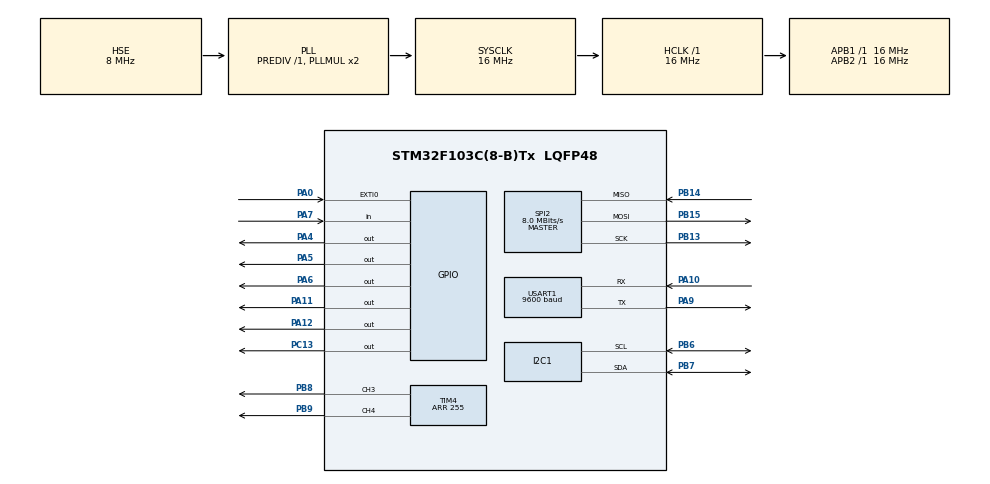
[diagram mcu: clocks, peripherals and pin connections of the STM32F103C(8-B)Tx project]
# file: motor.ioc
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Mcu.Family=STM32F1
Mcu.Name=STM32F103C(8-B)Tx
Mcu.Package=LQFP48
NVIC.EXTI0_IRQn=true\:1\:0\:true\:false\:true\:true\:true
NVIC.PriorityGroup=NVIC_PRIORITYGROUP_4
NVIC.SPI2_IRQn=true\:2\:0\:true\:false\:true\:true\:true
NVIC.TIM4_IRQn=true\:2\:0\:true\:false\:true\:true\:true
NVIC.USART1_IRQn=true\:2\:0\:true\:false\:true\:true\:true
PA0-WKUP.Signal=GPXTI0
PA10.Mode=Asynchronous
PA10.Signal=USART1_RX
PA11.Signal=GPIO_Output
PA12.Signal=GPIO_Output
PA13.Mode=Trace_Asynchronous_SW
PA13.Signal=SYS_JTMS-SWDIO
PA14.Mode=Trace_Asynchronous_SW
PA14.Signal=SYS_JTCK-SWCLK
PA4.Signal=GPIO_Output
PA5.Signal=GPIO_Output
PA6.Signal=GPIO_Output
PA7.Signal=GPIO_Input
PA9.Mode=Asynchronous
PA9.Signal=USART1_TX
PB13.Mode=Full_Duplex_Master
PB13.Signal=SPI2_SCK
PB14.Mode=Full_Duplex_Master
PB14.Signal=SPI2_MISO
PB15.Mode=Full_Duplex_Master
PB15.Signal=SPI2_MOSI
PB3.Mode=Trace_Asynchronous_SW
PB3.Signal=SYS_JTDO-TRACESWO
PB6.Mode=I2C
PB6.Signal=I2C1_SCL
PB7.Mode=I2C
PB7.Signal=I2C1_SDA
PB8.Signal=S_TIM4_CH3
PB9.GPIO_Speed=GPIO_SPEED_FREQ_HIGH
PB9.Signal=S_TIM4_CH4
PC13-TAMPER-RTC.Signal=GPIO_Output
PD0-OSC_IN.Mode=HSE-External-Oscillator
PD0-OSC_IN.Signal=RCC_OSC_IN
PD1-OSC_OUT.Mode=HSE-External-Oscillator
PD1-OSC_OUT.Signal=RCC_OSC_OUT
ProjectManager.HeapSize=0x200
ProjectManager.StackSize=0x400
ProjectManager.TargetToolchain=MDK-ARM V5
RCC.AHBFreq_Value=16000000
RCC.APB1Freq_Value=16000000
RCC.APB1TimFreq_Value=16000000
RCC.APB2Freq_Value=16000000
RCC.APB2TimFreq_Value=16000000
RCC.HCLKFreq_Value=16000000
RCC.PLLSourceVirtual=RCC_PLLSOURCE_HSE
RCC.SYSCLKFreq_VALUE=16000000
RCC.SYSCLKSource=RCC_SYSCLKSOURCE_PLLCLK
RCC.USBFreq_Value=16000000
SH.S_TIM4_CH3.0=TIM4_CH3,PWM Generation3 CH3
SH.S_TIM4_CH4.0=TIM4_CH4,PWM Generation4 CH4
SPI2.CalculateBaudRate=8.0 MBits/s
SPI2.Direction=SPI_DIRECTION_2LINES
SPI2.Mode=SPI_MODE_MASTER
SPI2.VirtualType=VM_MASTER
TIM4.Channel-PWM\ Generation3\ CH3=TIM_CHANNEL_3
TIM4.Channel-PWM\ Generation4\ CH4=TIM_CHANNEL_4
TIM4.Period=255
USART1.BaudRate=9600
USART1.VirtualMode=VM_ASYNC
VP_TIM4_VS_ClockSourceINT.Mode=Internal
board=custom

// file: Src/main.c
/* USER CODE BEGIN Header */
/**
  ******************************************************************************
  * @file           : main.c
  * @brief          : Main program body
  ******************************************************************************
  * @attention
  *
  * <h2><center>&copy; Copyright (c) 2019 STMicroelectronics.
  * All rights reserved.</center></h2>
  *
  * This software component is licensed by ST under BSD 3-Clause license,
  * the "License"; You may not use this file except in compliance with the
  * License. You may obtain a copy of the License at:
  *                        opensource.org/licenses/BSD-3-Clause
  *
  ******************************************************************************
  */
/* USER CODE END Header */

#include "main.h"

/* USER CODE BEGIN Includes */
#include "MotorLib.h"
#include "nrf24.h"
#include "nrf24_hal.h"
#include "fonts.h"
#include "ssd1306.h"

#include "ranging_vl53l0x.h"
#include "vl53l0x_api.h"

/* USER CODE END Includes */

/* USER CODE BEGIN PTD */
#ifdef __GNUC__
/* With GCC/RAISONANCE, small printf (option LD Linker->Libraries->Small printf
   set to 'Yes') calls __io_putchar() */
#define PUTCHAR_PROTOTYPE int __io_putchar(int ch)
#else
#define PUTCHAR_PROTOTYPE int fputc(int ch, FILE *f)
#endif /* __GNUC__ */
#include <stdbool.h>

/* USER CODE END PTD */

I2C_HandleTypeDef hi2c1;

SPI_HandleTypeDef hspi2;

TIM_HandleTypeDef htim4;

UART_HandleTypeDef huart1;

void SystemClock_Config(void);
static void MX_GPIO_Init(void);
static void MX_USART1_UART_Init(void);
static void MX_TIM4_Init(void);
static void MX_SPI2_Init(void);
static void MX_I2C1_Init(void);
/* USER CODE BEGIN PFP */

    static const uint8_t nRF24_ADDR0[] = { 0x01,0x01,0xE7, 0x1C, 0xE1};
		static const uint8_t nRF24_ADDR1[] = {  0x01,0x01,0xE7, 0x1C, 0xE2 };
		static const uint8_t nRF24_ADDR2[] = {  0x01,0x01,0xE7, 0x1C, 0xE3 };
		static const uint8_t nRF24_ADDR3[] = {  0x01,0x01,0xE7, 0x1C, 0xE4 };
		static const uint8_t nRF24_ADDR4[] = {  0x01,0x01,0xE7, 0x1C, 0xE5 };
		static const uint8_t nRF24_ADDR5[] = {  0x01,0x01,0xE7, 0x1C, 0xE6 };

	uint32_t	cw=0;

			uint8_t SerialModule[4];

		static VL53L0X_Error initSensor( VL53L0X_Dev_t * device );
/* USER CODE END PFP */

/* USER CODE BEGIN 0 */

PUTCHAR_PROTOTYPE
{
  /* Place your implementation of fputc here */
  /* e.g. write a character to the USART1 and Loop until the end of transmission */
  HAL_UART_Transmit(&huart1, (uint8_t *)&ch, 1, 0xFFFF);

  return ch;
}

uint16_t temp_count_error=0;
uint16_t temp_count=0;
uint8_t temp_old=0;
uint8_t payload_length=10;
uint32_t i,j,k;
uint8_t monitoreFlag=0;
// Buffer to store a payload of maximum width
uint8_t nRF24_payload[32]={0};

// Pipe number
nRF24_RXResult pipe;

// Length of received payload

// Helpers for transmit mode demo

// Timeout counter (depends on the CPU speed)
// Used for not stuck waiting for IRQ
#define nRF24_WAIT_TIMEOUT         (uint32_t)0x000FFFFF

// Result of packet transmission
typedef enum {
	nRF24_TX_ERROR  = (uint8_t)0x00, // Unknown error
	nRF24_TX_SUCCESS,                // Packet has been transmitted successfully
	nRF24_TX_TIMEOUT,                // It was timeout during packet transmit
	nRF24_TX_MAXRT                   // Transmit failed with maximum auto retransmit count
} nRF24_TXResult;

nRF24_TXResult tx_res;

// Function to transmit data packet
// input:
//   pBuf - pointer to the buffer with data to transmit
//   length - length of the data buffer in bytes
// return: one of nRF24_TX_xx values
nRF24_TXResult nRF24_TransmitPacket(uint8_t *pBuf, uint8_t length) {
	volatile uint32_t wait = nRF24_WAIT_TIMEOUT;
	uint8_t status;

	// Deassert the CE pin (in case if it still high)
	nRF24_CE_L();

	// Transfer a data from the specified buffer to the TX FIFO
	nRF24_WritePayload(pBuf, length);

	// Start a transmission by asserting CE pin (must be held at least 10us)
	nRF24_CE_H();
	HAL_Delay(1);
	nRF24_CE_L();
	// Poll the transceiver status register until one of the following flags will be set:
	//   TX_DS  - means the packet has been transmitted
	//   MAX_RT - means the maximum number of TX retransmits happened
	// note: this solution is far from perfect, better to use IRQ instead of polling the status
	do {
		status = nRF24_GetStatus();
		if (status & (nRF24_FLAG_TX_DS | nRF24_FLAG_MAX_RT)) {
			break;
		}
	} while (wait--);

	// Deassert the CE pin (Standby-II --> Standby-I)
	nRF24_CE_L();

	if (!wait) {
		// Timeout
		return nRF24_TX_TIMEOUT;
	}

	// Check the flags in STATUS register
//	printf("[");
//	printf("%d",status);
//	printf("] ");

	// Clear pending IRQ flags
    nRF24_ClearIRQFlags();

	if (status & nRF24_FLAG_MAX_RT) {
		// Auto retransmit counter exceeds the programmed maximum limit (FIFO is not removed)
		return nRF24_TX_MAXRT;
	}

	if (status & nRF24_FLAG_TX_DS) {
		// Successful transmission
		return nRF24_TX_SUCCESS;
	}

	// Some banana happens, a payload remains in the TX FIFO, flush it
	nRF24_FlushTX();

	return nRF24_TX_ERROR;
}

//1- iamhere 2- return data valid
void TransmitComand (uint8_t comandIdent,uint8_t tempArr[payload_length]){

	uint8_t Ident[]={2,100,100,100,100,100,100,100,100,100};

	Ident[1]=SerialModule[0];
	Ident[2]=SerialModule[1];
	Ident[3]=comandIdent;

	switch(comandIdent){
		case 1:
		//nop

		break;

		case 2:
		Ident[4]=tempArr[4];
		Ident[5]=tempArr[5];
		Ident[6]=tempArr[6];

		break;
	}
			nRF24_SetPowerMode(nRF24_PWR_DOWN);
    nRF24_SetTXPower(nRF24_TXPWR_0dBm);
    nRF24_SetOperationalMode(nRF24_MODE_TX);
    nRF24_ClearIRQFlags();
	  nRF24_SetAddr(nRF24_PIPETX, nRF24_ADDR2);
    nRF24_SetPowerMode(nRF24_PWR_UP);

	    tx_res = nRF24_TransmitPacket(Ident, payload_length);// data load

//	switch (tx_res) {
//			case nRF24_TX_SUCCESS:
//				printf("OK");
//				break;
//			case nRF24_TX_TIMEOUT:
//				printf("TIMEOUT");
//				break;
//			case nRF24_TX_MAXRT:
//				printf("MAX RETRANSMIT");
//				break;
//			default:
//				printf("ERROR");
//				break;
//		}
//    	printf("\r\n");

			nRF24_SetPowerMode(nRF24_PWR_DOWN);
    nRF24_SetOperationalMode(nRF24_MODE_RX);
    nRF24_SetPowerMode(nRF24_PWR_UP);
    nRF24_CE_H();

}

void TransmitIdentification (){
uint8_t Ident[]={2,100,100,100,100,100,100,100,100,100};

	Ident[1]=SerialModule[0];
	Ident[2]=SerialModule[1];
	Ident[3]=1;

  	nRF24_SetPowerMode(nRF24_PWR_DOWN);
    // Set TX power (maximum)
    nRF24_SetTXPower(nRF24_TXPWR_0dBm);
    // Set operational mode (PTX == transmitter)
    nRF24_SetOperationalMode(nRF24_MODE_TX);
    // Clear any pending IRQ flags
    nRF24_ClearIRQFlags();
	nRF24_SetAddr(nRF24_PIPETX, nRF24_ADDR2);
    // Wake the transceiver
    nRF24_SetPowerMode(nRF24_PWR_UP);

	    	tx_res = nRF24_TransmitPacket(Ident, payload_length);
    	switch (tx_res) {
			case nRF24_TX_SUCCESS:
				printf("OK");
				break;
			case nRF24_TX_TIMEOUT:
				printf("TIMEOUT");
				break;
			case nRF24_TX_MAXRT:
				printf("MAX RETRANSMIT");
				break;
			default:
				printf("ERROR");
				break;
		}
    	printf("\r\n");

			nRF24_SetPowerMode(nRF24_PWR_DOWN);

		 // Set operational mode (PRX == receiver)
    nRF24_SetOperationalMode(nRF24_MODE_RX);

    // Wake the transceiver
    nRF24_SetPowerMode(nRF24_PWR_UP);

    // Put the transceiver to the RX mode
    nRF24_CE_H();

}

/* USER CODE END 0 */

int main(void)
{
  /* USER CODE BEGIN 1 */

		volatile uint32_t *UniqueID = (uint32_t *)0x1FFFF7E8;
	volatile uint32_t __UniqueID[3];
	__UniqueID[0] = UniqueID[0];
	__UniqueID[1] = UniqueID[1];
	__UniqueID[2] = UniqueID[2];

	SerialModule[0]=__UniqueID[2];
	SerialModule[1]=__UniqueID[2]>>8;
	SerialModule[2]=__UniqueID[2]>>16;
	SerialModule[3]=__UniqueID[2]>>24;

  /* USER CODE END 1 */

  /* MCU Configuration--------------------------------------------------------*/

  /* Reset of all peripherals, Initializes the Flash interface and the Systick. */
  HAL_Init();

  /* Configure the system clock */
  SystemClock_Config();

  /* Initialize all configured peripherals */
  MX_GPIO_Init();
  MX_USART1_UART_Init();
  MX_TIM4_Init();
  MX_SPI2_Init();
  MX_I2C1_Init();
  /* USER CODE BEGIN 2 */

 HAL_TIM_PWM_Start(&htim4, TIM_CHANNEL_4);
 HAL_TIM_PWM_Start(&htim4, TIM_CHANNEL_3);
 printf("\r\nSTM32F103RET6 is online.\r\n");

    // RX/TX disabled
    nRF24_CE_L();

		 HAL_GPIO_WritePin(GPIOC, GPIO_PIN_13, GPIO_PIN_SET);
		    // Configure the nRF24L01+
    printf("nRF24L01+ check: ");

    while (!nRF24_Check()) {
    	printf("FAIL\r\n");
			HAL_Delay(1000);
    }

	printf("OK\r\n");
		 HAL_GPIO_WritePin(GPIOC, GPIO_PIN_13, GPIO_PIN_RESET);
		  // Initialize the nRF24L01 to its default state
    nRF24_Init();

	// This is simple receiver with multiple RX pipes:
    //   - pipe#0 address: "WBC"
    //   - pipe#0 payload: 11 bytes
	//   - pipe#1 address: '0xE7 0x1C 0xE3'
    //   - pipe#1 payload: 5 bytes
    //   - pipe#4 address: '0xE7 0x1C 0xE6' (this is pipe#1 address with different last byte)
    //   - pipe#4 payload: 32 bytes (the maximum payload length)
	//   - RF channel: 115 (2515MHz)
	//   - data rate: 250kbps (minimum possible, to increase reception reliability)
	//   - CRC scheme: 2 byte

    // The transmitter sends packets of different length to the three different logical addresses,
    // cycling them one after another, that packets comes to different pipes (0, 1 and 4)

    // Disable ShockBurst for all RX pipes
    nRF24_DisableAA(0xFF);

    // Set RF channel
    nRF24_SetRFChannel(115);

    // Set data rate
    nRF24_SetDataRate(nRF24_DR_2Mbps);

    // Set CRC scheme
    nRF24_SetCRCScheme(nRF24_CRC_2byte);

    // Set address width, its common for all pipes (RX and TX)
    nRF24_SetAddrWidth(5);

    // Configure RX PIPE#0

    nRF24_SetAddr(nRF24_PIPE0, nRF24_ADDR0); // program address for RX pipe #0
		nRF24_SetAddr(nRF24_PIPE1, nRF24_ADDR1); // program address for RX pipe #1
		nRF24_SetAddr(nRF24_PIPE2, nRF24_ADDR2); // program address for RX pipe #2
		nRF24_SetAddr(nRF24_PIPE3, nRF24_ADDR3); // program address for RX pipe #3
		nRF24_SetAddr(nRF24_PIPE4, nRF24_ADDR4); // program address for RX pipe #4
		nRF24_SetAddr(nRF24_PIPE5, nRF24_ADDR5); // program address for RX pipe #5
    //nRF24_SetRXPipe(nRF24_PIPE0, nRF24_AA_OFF, 6);
		nRF24_SetRXPipe(nRF24_PIPE1, nRF24_AA_OFF, 10);
		//nRF24_SetRXPipe(nRF24_PIPE2, nRF24_AA_OFF, 6);
		//nRF24_SetRXPipe(nRF24_PIPE3, nRF24_AA_OFF, 6);
		//nRF24_SetRXPipe(nRF24_PIPE4, nRF24_AA_OFF, 6);
		//nRF24_SetRXPipe(nRF24_PIPE5, nRF24_AA_OFF, 6);

// nRF24_SetRXPipe(nRF24_PIPE1, nRF24_AA_ON, 10); // Auto-ACK: enabled, payload length: 10 bytes

    // Set operational mode (PRX == receiver)
    nRF24_SetOperationalMode(nRF24_MODE_RX);

  nRF24_ClearIRQFlags();

    // Wake the transceiver
    nRF24_SetPowerMode(nRF24_PWR_UP);

    // Put the transceiver to the RX mode
    nRF24_CE_H();

  ssd1306_Init();
  HAL_Delay(1000);
  ssd1306_Fill(White);
  ssd1306_UpdateScreen();

  HAL_Delay(1000);

  ssd1306_SetCursor(10,20);
  ssd1306_WriteString("Start",Font_11x18,Black);
  ssd1306_UpdateScreen();

	  char str[11];

	nRF24_payload[4]=255;
	nRF24_payload[5]=255;
	nRF24_payload[6]=255;

//	  ssd1306_Fill(White);
//  ssd1306_UpdateScreen();
//	sprintf(str, "%d", nRF24_payload[4]);
//	ssd1306_SetCursor(0,5);
//	ssd1306_WriteString("Speed",Font_11x18,Black);
//  ssd1306_UpdateScreen();
//	ssd1306_SetCursor(80,5);
//	ssd1306_WriteString(str,Font_11x18,Black);
//  ssd1306_UpdateScreen();

//	sprintf(str, "%d", nRF24_payload[5]);
//	ssd1306_SetCursor(0,25);
//	ssd1306_WriteString("Direct",Font_11x18,Black);
//  ssd1306_UpdateScreen();
//	ssd1306_SetCursor(80,25);
//	ssd1306_WriteString(str,Font_11x18,Black);
//  ssd1306_UpdateScreen();
//
//	sprintf(str, "%d", nRF24_payload[6]);
//	ssd1306_SetCursor(0,45);
//	ssd1306_WriteString("Power",Font_11x18,Black);
//  ssd1306_UpdateScreen();
//	ssd1306_SetCursor(80,45);
//	ssd1306_WriteString(str,Font_11x18,Black);
//  ssd1306_UpdateScreen();

static VL53L0X_Dev_t device;
static volatile uint16_t res = 0;

		    // ???????
    device.I2cHandle=&hi2c1;
    device.I2cDevAddr=0x52;
    device.Present=0;
    device.Id=0;

  initSensor( &device );

 static uint8_t data_ready;
    static VL53L0X_RangingMeasurementData_t result;
    static VL53L0X_Error Status;

  /* USER CODE END 2 */

  /* Infinite loop */
  /* USER CODE BEGIN WHILE */
  while (1)
  {

		        Status=VL53L0X_GetMeasurementDataReady(&device, &data_ready);

        if( Status == VL53L0X_ERROR_NONE )
        {
            Status = VL53L0X_GetRangingMeasurementData(&device, &result);

            if (Status == VL53L0X_ERROR_NONE)
            {
                Status = VL53L0X_ClearInterruptMask(&device,0);
            }
        }

//	ssd1306_Fill(White);
//  ssd1306_UpdateScreen();
//	sprintf(str, "%d", result.RangeMilliMeter);
//	ssd1306_SetCursor(0,5);
//	ssd1306_WriteString("Range",Font_11x18,Black);
//  ssd1306_UpdateScreen();
//	ssd1306_SetCursor(80,5);
//	ssd1306_WriteString(str,Font_11x18,Black);
//  ssd1306_UpdateScreen();

//    	if (nRF24_GetStatus_RXFIFO() != nRF24_STATUS_RXFIFO_EMPTY) {
//    		pipe = nRF24_ReadPayload(nRF24_payload, &payload_length);

//			nRF24_ClearIRQFlags();

//
////				if(temp_old!=(nRF24_payload[4]-1)){
////					temp_count_error++;
////					printf("temp_count_error=%d  ",temp_count_error);
////						printf("packet lose=%d%%  ",100/(temp_count/(temp_count_error-temp_count/80)));
////					printf("temp_count=%d",temp_count);
////						printf("\r\n");
////				}
////	temp_count++;
////	temp_old=nRF24_payload[4];

//
////__Set_Speed(nRF24_payload[4],nRF24_payload[5],nRF24_payload[6]);
//
//				if(nRF24_payload[3]!=4){
//	  ssd1306_Fill(White);
//  ssd1306_UpdateScreen();
//	sprintf(str, "%d", nRF24_payload[4]);
//	ssd1306_SetCursor(0,5);
//	ssd1306_WriteString("Speed",Font_11x18,Black);
//  ssd1306_UpdateScreen();
//	ssd1306_SetCursor(80,5);
//	ssd1306_WriteString(str,Font_11x18,Black);
//  ssd1306_UpdateScreen();

//	sprintf(str, "%d", nRF24_payload[5]);
//	ssd1306_SetCursor(0,25);
//	ssd1306_WriteString("Direct",Font_11x18,Black);
//  ssd1306_UpdateScreen();
//	ssd1306_SetCursor(80,25);
//	ssd1306_WriteString(str,Font_11x18,Black);
//  ssd1306_UpdateScreen();
//
//	sprintf(str, "%d", nRF24_payload[6]);
//	ssd1306_SetCursor(0,45);
//	ssd1306_WriteString("Power",Font_11x18,Black);
//  ssd1306_UpdateScreen();
//	ssd1306_SetCursor(80,45);
//	ssd1306_WriteString(str,Font_11x18,Black);
//  ssd1306_UpdateScreen();
//}
//		else{
//
//				  ssd1306_Fill(White);
//  ssd1306_UpdateScreen();
//	sprintf(str, "%d", nRF24_payload[8]*255+nRF24_payload[9]);
//	ssd1306_SetCursor(0,5);
//	ssd1306_WriteString("Count",Font_11x18,Black);
//  ssd1306_UpdateScreen();
//	ssd1306_SetCursor(80,5);
//	ssd1306_WriteString(str,Font_11x18,Black);
//  ssd1306_UpdateScreen();
//
//
//
//
//
//		}
//

//
//
//TransmitComand(2,nRF24_payload);

//
////MoveAndTurn(nRF24_payload[2]*256+nRF24_payload[3],nRF24_payload[4]*256+nRF24_payload[5]);

////						printf(" PAYLOAD:>");
////			printf("%d,motor=%d,%d",nRF24_payload[0]*256+nRF24_payload[1],
////				nRF24_payload[2]*256+nRF24_payload[3],
////				nRF24_payload[4]*256+nRF24_payload[5]);
////			printf("\r\n");

//
//
//    	}
//			else{
//	if(monitoreFlag==1){
//				TransmitIdentification();
//		monitoreFlag=0;
//	}
//}

			//	HAL_Delay(100);
			//	TransmitComand(2,nRF24_payload);

    /* USER CODE END WHILE */

  }
}
static VL53L0X_Error initSensor( VL53L0X_Dev_t * device )
{
    VL53L0X_Error Status=VL53L0X_ERROR_NONE;

    static uint32_t refSpadCount     = 0;                  //??? ???????? ???????????? ????????
    static uint8_t  isApertureSpads  = 0;                   //??? ???????? ???????????? ????????
    static uint8_t  VhvSettings      = 0;                     //??? ???????? ???????????? ????????
    static uint8_t  PhaseCal         = 0;                     //??? ???????? ???????????? ????????

    if (Status == VL53L0X_ERROR_NONE)
    {
        Status=VL53L0X_SetDeviceAddress( device, 0x51 );
        device->I2cDevAddr=0x51;
    }

    if (Status == VL53L0X_ERROR_NONE)
    {
        Status=VL53L0X_DataInit( device );
    }

    if (Status == VL53L0X_ERROR_NONE)
    {
        Status=VL53L0X_StaticInit( device );
    }

    if (Status == VL53L0X_ERROR_NONE)
    {
        Status = VL53L0X_PerformRefSpadManagement( device, &refSpadCount, &isApertureSpads);
    }

    if (Status == VL53L0X_ERROR_NONE)
    {
        Status = VL53L0X_PerformRefCalibration( device, &VhvSettings, &PhaseCal);
    }

    if (Status == VL53L0X_ERROR_NONE)
    {
        Status=VL53L0X_SetReferenceSpads( device, refSpadCount, isApertureSpads);
    }

    if (Status == VL53L0X_ERROR_NONE)
    {
        Status=VL53L0X_SetRefCalibration( device, VhvSettings, PhaseCal);
    }

    if (Status == VL53L0X_ERROR_NONE)
    {
        Status=VL53L0X_SetDeviceMode( device, VL53L0X_DEVICEMODE_CONTINUOUS_RANGING);
    }

    if (Status == VL53L0X_ERROR_NONE)
    {
        Status = VL53L0X_SetLimitCheckValue( device, VL53L0X_CHECKENABLE_SIGNAL_RATE_FINAL_RANGE, (FixPoint1616_t)(0.25*65536) );
    }

    if (Status == VL53L0X_ERROR_NONE)
    {
        Status = VL53L0X_SetLimitCheckValue( device, VL53L0X_CHECKENABLE_SIGMA_FINAL_RANGE, (FixPoint1616_t)(32*65536) );
    }

    if (Status == VL53L0X_ERROR_NONE)
    {
        Status =VL53L0X_SetMeasurementTimingBudgetMicroSeconds( device,	20000 );
    }

    if (Status == VL53L0X_ERROR_NONE)
    {
        Status=VL53L0X_StartMeasurement( device );
    }

    return Status;
}

void SystemClock_Config(void)
{
  RCC_OscInitTypeDef RCC_OscInitStruct = {0};
  RCC_ClkInitTypeDef RCC_ClkInitStruct = {0};

  /** Initializes the CPU, AHB and APB busses clocks
  */
  RCC_OscInitStruct.OscillatorType = RCC_OSCILLATORTYPE_HSE;
  RCC_OscInitStruct.HSEState = RCC_HSE_ON;
  RCC_OscInitStruct.HSEPredivValue = RCC_HSE_PREDIV_DIV1;
  RCC_OscInitStruct.HSIState = RCC_HSI_ON;
  RCC_OscInitStruct.PLL.PLLState = RCC_PLL_ON;
  RCC_OscInitStruct.PLL.PLLSource = RCC_PLLSOURCE_HSE;
  RCC_OscInitStruct.PLL.PLLMUL = RCC_PLL_MUL2;
  if (HAL_RCC_OscConfig(&RCC_OscInitStruct) != HAL_OK)
  {
    Error_Handler();
  }
  /** Initializes the CPU, AHB and APB busses clocks
  */
  RCC_ClkInitStruct.ClockType = RCC_CLOCKTYPE_HCLK|RCC_CLOCKTYPE_SYSCLK
                              |RCC_CLOCKTYPE_PCLK1|RCC_CLOCKTYPE_PCLK2;
  RCC_ClkInitStruct.SYSCLKSource = RCC_SYSCLKSOURCE_PLLCLK;
  RCC_ClkInitStruct.AHBCLKDivider = RCC_SYSCLK_DIV1;
  RCC_ClkInitStruct.APB1CLKDivider = RCC_HCLK_DIV1;
  RCC_ClkInitStruct.APB2CLKDivider = RCC_HCLK_DIV1;

  if (HAL_RCC_ClockConfig(&RCC_ClkInitStruct, FLASH_LATENCY_0) != HAL_OK)
  {
    Error_Handler();
  }
}

static void MX_I2C1_Init(void)
{

  hi2c1.Instance = I2C1;
  hi2c1.Init.ClockSpeed = 100000;
  hi2c1.Init.DutyCycle = I2C_DUTYCYCLE_2;
  hi2c1.Init.OwnAddress1 = 0;
  hi2c1.Init.AddressingMode = I2C_ADDRESSINGMODE_7BIT;
  hi2c1.Init.DualAddressMode = I2C_DUALADDRESS_DISABLE;
  hi2c1.Init.OwnAddress2 = 0;
  hi2c1.Init.GeneralCallMode = I2C_GENERALCALL_DISABLE;
  hi2c1.Init.NoStretchMode = I2C_NOSTRETCH_DISABLE;
  if (HAL_I2C_Init(&hi2c1) != HAL_OK)
  {
    Error_Handler();
  }

}

static void MX_SPI2_Init(void)
{

  /* SPI2 parameter configuration*/
  hspi2.Instance = SPI2;
  hspi2.Init.Mode = SPI_MODE_MASTER;
  hspi2.Init.Direction = SPI_DIRECTION_2LINES;
  hspi2.Init.DataSize = SPI_DATASIZE_8BIT;
  hspi2.Init.CLKPolarity = SPI_POLARITY_LOW;
  hspi2.Init.CLKPhase = SPI_PHASE_1EDGE;
  hspi2.Init.NSS = SPI_NSS_SOFT;
  hspi2.Init.BaudRatePrescaler = SPI_BAUDRATEPRESCALER_2;
  hspi2.Init.FirstBit = SPI_FIRSTBIT_MSB;
  hspi2.Init.TIMode = SPI_TIMODE_DISABLE;
  hspi2.Init.CRCCalculation = SPI_CRCCALCULATION_DISABLE;
  hspi2.Init.CRCPolynomial = 10;
  if (HAL_SPI_Init(&hspi2) != HAL_OK)
  {
    Error_Handler();
  }

}

static void MX_TIM4_Init(void)
{

  TIM_ClockConfigTypeDef sClockSourceConfig = {0};
  TIM_MasterConfigTypeDef sMasterConfig = {0};
  TIM_OC_InitTypeDef sConfigOC = {0};

  htim4.Instance = TIM4;
  htim4.Init.Prescaler = 0;
  htim4.Init.CounterMode = TIM_COUNTERMODE_UP;
  htim4.Init.Period = 255;
  htim4.Init.ClockDivision = TIM_CLOCKDIVISION_DIV1;
  htim4.Init.AutoReloadPreload = TIM_AUTORELOAD_PRELOAD_DISABLE;
  if (HAL_TIM_Base_Init(&htim4) != HAL_OK)
  {
    Error_Handler();
  }
  sClockSourceConfig.ClockSource = TIM_CLOCKSOURCE_INTERNAL;
  if (HAL_TIM_ConfigClockSource(&htim4, &sClockSourceConfig) != HAL_OK)
  {
    Error_Handler();
  }
  if (HAL_TIM_PWM_Init(&htim4) != HAL_OK)
  {
    Error_Handler();
  }
  sMasterConfig.MasterOutputTrigger = TIM_TRGO_RESET;
  sMasterConfig.MasterSlaveMode = TIM_MASTERSLAVEMODE_DISABLE;
  if (HAL_TIMEx_MasterConfigSynchronization(&htim4, &sMasterConfig) != HAL_OK)
  {
    Error_Handler();
  }
  sConfigOC.OCMode = TIM_OCMODE_PWM1;
  sConfigOC.Pulse = 0;
  sConfigOC.OCPolarity = TIM_OCPOLARITY_HIGH;
  sConfigOC.OCFastMode = TIM_OCFAST_DISABLE;
  if (HAL_TIM_PWM_ConfigChannel(&htim4, &sConfigOC, TIM_CHANNEL_3) != HAL_OK)
  {
    Error_Handler();
  }
  if (HAL_TIM_PWM_ConfigChannel(&htim4, &sConfigOC, TIM_CHANNEL_4) != HAL_OK)
  {
    Error_Handler();
  }
  HAL_TIM_MspPostInit(&htim4);

}

static void MX_USART1_UART_Init(void)
{

  huart1.Instance = USART1;
  huart1.Init.BaudRate = 9600;
  huart1.Init.WordLength = UART_WORDLENGTH_8B;
  huart1.Init.StopBits = UART_STOPBITS_1;
  huart1.Init.Parity = UART_PARITY_NONE;
  huart1.Init.Mode = UART_MODE_TX_RX;
  huart1.Init.HwFlowCtl = UART_HWCONTROL_NONE;
  huart1.Init.OverSampling = UART_OVERSAMPLING_16;
  if (HAL_UART_Init(&huart1) != HAL_OK)
  {
    Error_Handler();
  }

}

static void MX_GPIO_Init(void)
{
  GPIO_InitTypeDef GPIO_InitStruct = {0};

  /* GPIO Ports Clock Enable */
  __HAL_RCC_GPIOC_CLK_ENABLE();
  __HAL_RCC_GPIOD_CLK_ENABLE();
  __HAL_RCC_GPIOA_CLK_ENABLE();
  __HAL_RCC_GPIOB_CLK_ENABLE();

  /*Configure GPIO pin Output Level */
  HAL_GPIO_WritePin(GPIOC, GPIO_PIN_13, GPIO_PIN_RESET);

  /*Configure GPIO pin Output Level */
  HAL_GPIO_WritePin(GPIOA, GPIO_PIN_4|GPIO_PIN_5|GPIO_PIN_6|GPIO_PIN_11
                          |GPIO_PIN_12, GPIO_PIN_RESET);

  /*Configure GPIO pin : PC13 */
  GPIO_InitStruct.Pin = GPIO_PIN_13;
  GPIO_InitStruct.Mode = GPIO_MODE_OUTPUT_PP;
  GPIO_InitStruct.Pull = GPIO_NOPULL;
  GPIO_InitStruct.Speed = GPIO_SPEED_FREQ_LOW;
  HAL_GPIO_Init(GPIOC, &GPIO_InitStruct);

  /*Configure GPIO pin : PA0 */
  GPIO_InitStruct.Pin = GPIO_PIN_0;
  GPIO_InitStruct.Mode = GPIO_MODE_IT_RISING;
  GPIO_InitStruct.Pull = GPIO_NOPULL;
  HAL_GPIO_Init(GPIOA, &GPIO_InitStruct);

  /*Configure GPIO pins : PA4 PA5 PA6 PA11
                           PA12 */
  GPIO_InitStruct.Pin = GPIO_PIN_4|GPIO_PIN_5|GPIO_PIN_6|GPIO_PIN_11
                          |GPIO_PIN_12;
  GPIO_InitStruct.Mode = GPIO_MODE_OUTPUT_PP;
  GPIO_InitStruct.Pull = GPIO_NOPULL;
  GPIO_InitStruct.Speed = GPIO_SPEED_FREQ_LOW;
  HAL_GPIO_Init(GPIOA, &GPIO_InitStruct);

  /*Configure GPIO pin : PA7 */
  GPIO_InitStruct.Pin = GPIO_PIN_7;
  GPIO_InitStruct.Mode = GPIO_MODE_INPUT;
  GPIO_InitStruct.Pull = GPIO_NOPULL;
  HAL_GPIO_Init(GPIOA, &GPIO_InitStruct);

  /* EXTI interrupt init*/
  HAL_NVIC_SetPriority(EXTI0_IRQn, 1, 0);
  HAL_NVIC_EnableIRQ(EXTI0_IRQn);

}

void Error_Handler(void)
{
}

/************************ (C) COPYRIGHT STMicroelectronics *****END OF FILE****/
